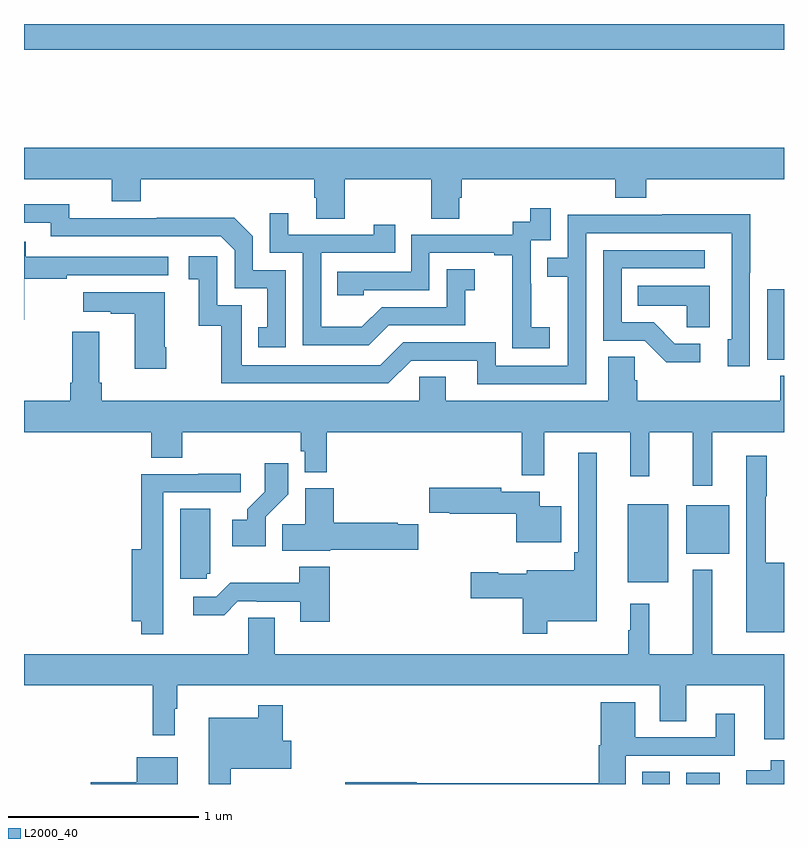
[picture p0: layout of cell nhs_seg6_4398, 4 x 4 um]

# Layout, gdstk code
import gdstk
lib = gdstk.Library(unit=1e-6, precision=1e-09)
def R(c, l, rs):  # rectangles x0, y0, x1, y1
    for r in rs: c.add(gdstk.rectangle(r[:2], r[2:], *l))
def P(c, l, *ps):  # polygons
    for p in ps: c.add(gdstk.Polygon(p, *l))
L2000_40 = (2000, 40)

nhs_seg6_4398 = lib.new_cell('nhs_seg6_4398')
R(nhs_seg6_4398, L2000_40, [(374.255,929.5,374.398,929.564), (374.486,929.5,374.662,929.56), (374.177,930.563,374.392,930.973), (374.486,930.713,374.713,930.967), (374.913,931.734,375,932.104), (371,933.364,375,933.5)])
P(nhs_seg6_4398, L2000_40, [(372.687,932.684),(373.144,932.684),(373.144,932.476),(373.291,932.476),(373.291,932.586),(373.304,932.586),(373.304,932.684),(374.111,932.684),(374.111,932.585),(374.276,932.585),(374.276,932.684),(375,932.684),(375,932.848),(371,932.848),(371,932.684),(371.462,932.684),(371.462,932.567),(371.615,932.567),(371.615,932.684),(372.527,932.684),(372.527,932.586),(372.539,932.586),(372.539,932.476),(372.687,932.476)],
  [(372.378,932.205),(372.204,932.205),(372.204,932.382),(372.106,932.48),(371.698,932.48),(371.698,932.478),(371.238,932.478),(371.238,932.551),(371,932.551),(371,932.454),(371.142,932.454),(371.142,932.382),(372.036,932.382),(372.108,932.31),(372.108,932.109),(372.281,932.109),(372.281,931.905),(372.232,931.905),(372.232,931.8),(372.378,931.8)],
  [(373.768,931.903),(373.67,931.903),(373.67,932.132),(373.668,932.132),(373.668,932.361),(373.773,932.361),(373.773,932.53),(373.665,932.53),(373.665,932.46),(373.572,932.46),(373.572,932.391),(373.038,932.391),(373.038,932.196),(372.649,932.196),(372.649,932.073),(372.789,932.073),(372.789,932.1),(373.134,932.1),(373.134,932.295),(373.475,932.295),(373.475,932.283),(373.571,932.283),(373.571,931.999),(373.57,931.999),(373.57,931.793),(373.768,931.793)],
  [(372.919,931.914),(373.323,931.914),(373.323,932.099),(373.372,932.099),(373.372,932.209),(373.224,932.209),(373.224,932.01),(372.882,932.01),(372.778,931.906),(372.564,931.906),(372.564,932.295),(372.953,932.295),(372.953,932.443),(372.842,932.443),(372.842,932.391),(372.391,932.391),(372.391,932.503),(372.294,932.503),(372.294,932.295),(372.468,932.295),(372.468,931.809),(372.814,931.809)],
  [(373.959,932.4),(374.724,932.4),(374.724,931.842),(374.705,931.842),(374.705,931.698),(374.82,931.698),(374.82,932.191),(374.823,932.191),(374.823,932.498),(374.359,932.498),(374.359,932.496),(373.863,932.496),(373.863,932.271),(373.753,932.271),(373.753,932.17),(373.863,932.17),(373.863,931.701),(373.482,931.701),(373.482,931.824),(372.996,931.824),(372.876,931.704),(372.147,931.704),(372.147,932.019),(372.018,932.019),(372.018,932.278),(371.868,932.278),(371.868,932.157),(371.921,932.157),(371.921,931.911),(372.039,931.911),(372.039,931.608),(372.918,931.608),(373.038,931.728),(373.385,931.728),(373.385,931.605),(373.959,931.605)],
  [(371.002,932.158),(371.225,932.158),(371.225,932.178),(371.758,932.178),(371.758,932.274),(371.009,932.274),(371.009,932.353),(371,932.353),(371,931.944),(371.002,931.944)],
  [(374.56,931.818),(374.425,931.818),(374.314,931.929),(374.145,931.929),(374.145,932.214),(374.584,932.214),(374.584,932.31),(374.049,932.31),(374.049,931.833),(374.268,931.833),(374.381,931.721),(374.56,931.721)],
  [(374.608,932.122),(374.23,932.122),(374.23,932.018),(374.487,932.018),(374.487,931.903),(374.608,931.903)],
  [(371.748,931.798),(371.74,931.798),(371.74,932.089),(371.313,932.089),(371.313,931.985),(371.456,931.985),(371.456,931.975),(371.582,931.975),(371.582,931.686),(371.748,931.686)],
  [(374.623,931.352),(375,931.352),(375,931.649),(374.981,931.649),(374.981,931.516),(374.228,931.516),(374.228,931.625),(374.214,931.625),(374.214,931.748),(374.075,931.748),(374.075,931.516),(373.219,931.516),(373.219,931.643),(373.08,931.643),(373.08,931.516),(371.408,931.516),(371.408,931.612),(371.395,931.612),(371.395,931.879),(371.255,931.879),(371.255,931.612),(371.243,931.612),(371.243,931.516),(371,931.516),(371,931.352),(371.669,931.352),(371.669,931.216),(371.834,931.216),(371.834,931.352),(372.457,931.352),(372.457,931.251),(372.477,931.251),(372.477,931.142),(372.593,931.142),(372.593,931.352),(373.621,931.352),(373.621,931.124),(373.739,931.124),(373.739,931.352),(374.192,931.352),(374.192,931.119),(374.292,931.119),(374.292,931.352),(374.519,931.352),(374.519,931.071),(374.623,931.071)],
  [(373.753,930.356),(374.014,930.356),(374.014,931.243),(373.917,931.243),(373.917,930.721),(373.897,930.721),(373.897,930.625),(373.647,930.625),(373.647,930.607),(373.496,930.607),(373.496,930.615),(373.35,930.615),(373.35,930.478),(373.624,930.478),(373.624,930.291),(373.753,930.291)],
  [(375,930.664),(374.905,930.664),(374.905,931.015),(374.908,931.015),(374.908,931.228),(374.801,931.228),(374.801,930.299),(375,930.299)],
  [(372.273,930.907),(372.392,931.026),(372.392,931.189),(372.267,931.189),(372.267,931.037),(372.176,930.947),(372.176,930.892),(372.096,930.892),(372.096,930.752),(372.273,930.752)],
  [(371.733,931.035),(372.142,931.035),(372.142,931.134),(371.917,931.134),(371.917,931.131),(371.617,931.131),(371.617,930.736),(371.567,930.736),(371.567,930.356),(371.617,930.356),(371.617,930.288),(371.733,930.288)],
  [(373.828,930.961),(373.714,930.961),(373.714,931.039),(373.512,931.039),(373.512,931.059),(373.134,931.059),(373.134,930.928),(373.24,930.928),(373.24,930.922),(373.592,930.922),(373.592,930.773),(373.828,930.773)],
  [(372.612,930.734),(373.074,930.734),(373.074,930.867),(372.968,930.867),(372.968,930.876),(372.629,930.876),(372.629,931.057),(372.479,931.057),(372.479,930.866),(372.358,930.866),(372.358,930.728),(372.612,930.728)],
  [(371.961,930.606),(371.98,930.606),(371.98,930.95),(371.822,930.95),(371.822,930.579),(371.961,930.579)],
  [(372.608,930.643),(372.448,930.643),(372.448,930.559),(372.085,930.559),(372.012,930.486),(371.892,930.486),(371.892,930.389),(372.053,930.389),(372.126,930.462),(372.226,930.462),(372.226,930.459),(372.455,930.459),(372.455,930.354),(372.608,930.354)],
  [(375,930.184),(374.623,930.184),(374.623,930.628),(374.519,930.628),(374.519,930.184),(374.292,930.184),(374.292,930.448),(374.192,930.448),(374.192,930.308),(374.181,930.308),(374.181,930.184),(372.319,930.184),(372.319,930.374),(372.18,930.374),(372.18,930.184),(371,930.184),(371,930.02),(371.677,930.02),(371.677,929.757),(371.794,929.757),(371.794,929.897),(371.806,929.897),(371.806,930.02),(374.345,930.02),(374.345,929.83),(374.485,929.83),(374.485,930.02),(374.897,930.02),(374.897,929.736),(375,929.736)],
  [(374.166,929.649),(374.74,929.649),(374.74,929.869),(374.642,929.869),(374.642,929.745),(374.218,929.745),(374.218,929.929),(374.036,929.929),(374.036,929.703),(374.024,929.703),(374.024,929.504),(373.068,929.504),(373.068,929.51),(372.692,929.51),(372.692,929.5),(374.166,929.5)],
  [(372.089,929.579),(372.406,929.579),(372.406,929.727),(372.362,929.727),(372.362,929.914),(372.234,929.914),(372.234,929.848),(371.972,929.848),(371.972,929.5),(372.089,929.5)],
  [(371.809,929.641),(371.594,929.641),(371.594,929.51),(371.352,929.51),(371.352,929.5),(371.809,929.5)],
  [(375,929.626),(374.93,929.626),(374.93,929.572),(374.801,929.572),(374.801,929.5),(375,929.5)])

lib.write_gds('nhs_seg6_4398.gds')
